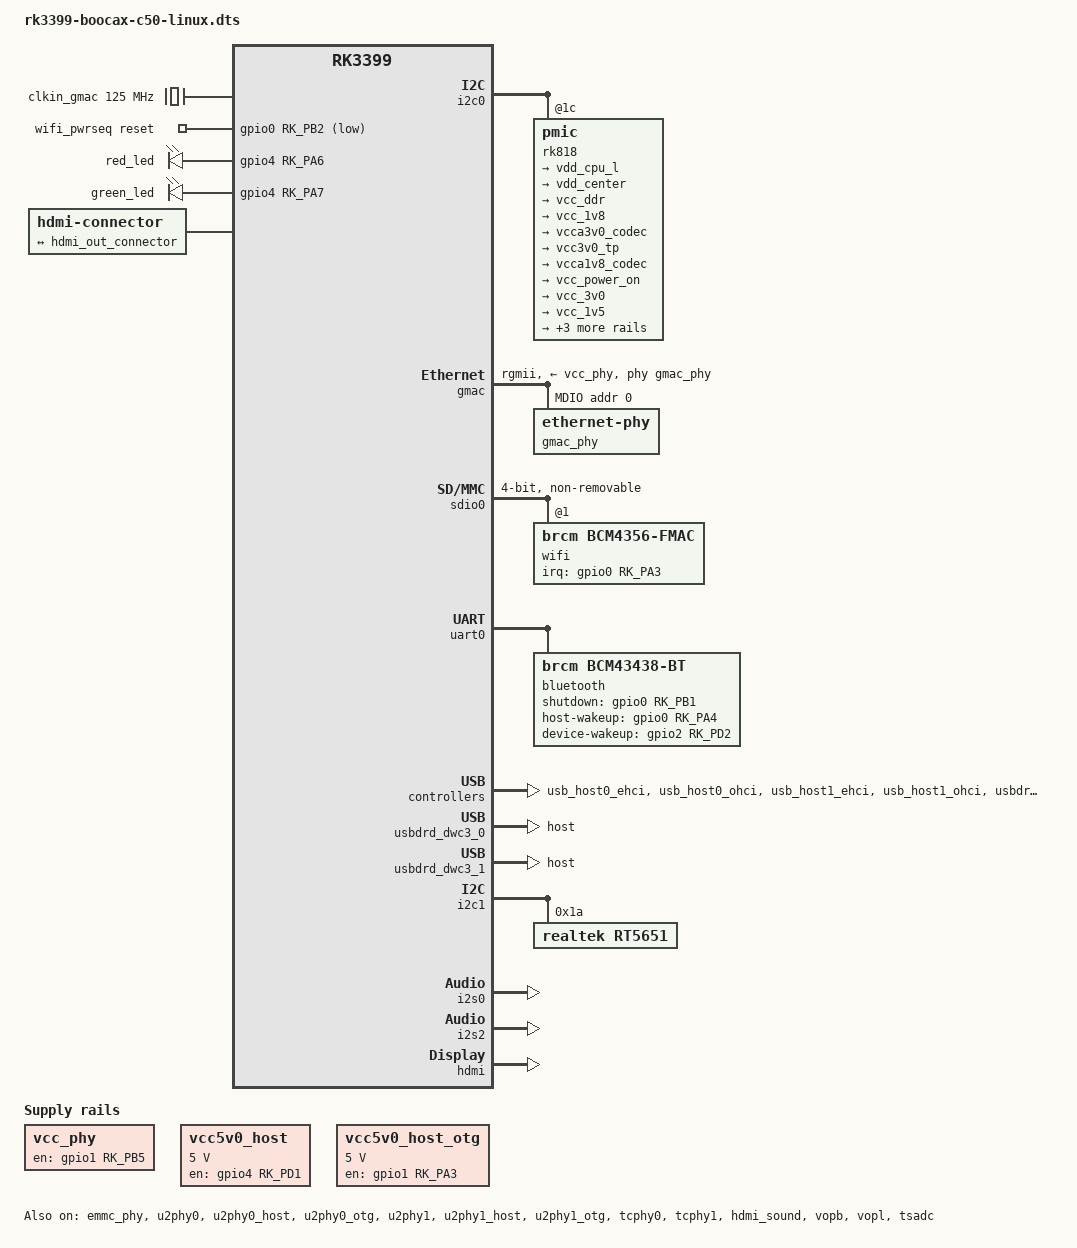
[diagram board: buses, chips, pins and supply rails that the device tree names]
// SPDX-License-Identifier: (GPL-2.0-or-later OR MIT)
#include "rk3399-boocax-c50.dts"

/ {
	aliases {
		ethernet0 = &gmac;
		serial0 = &uart0;
	};

	clkin_gmac: external-gmac-clock {
		compatible = "fixed-clock";
		clock-frequency = <125000000>;
		clock-output-names = "clkin_gmac";
		#clock-cells = <0>;
	};

	vcc_phy: regulator-vcc-phy {
		compatible = "regulator-fixed";
		regulator-name = "vcc_phy";
		gpio = <&gpio1 RK_PB5 GPIO_ACTIVE_HIGH>;
		enable-active-high;
		regulator-always-on;
	};

	wifi_pwrseq: sdio-pwrseq {
		compatible = "mmc-pwrseq-simple";
		clocks = <&rk818 1>;
		clock-names = "ext_clock";
		pinctrl-names = "default";
		pinctrl-0 = <&wifi_reg_on>;
		reset-gpios = <&gpio0 RK_PB2 GPIO_ACTIVE_LOW>;
	};

	gpio-leds {
		compatible = "gpio-leds";
		pinctrl-names = "default";
		pinctrl-0 = <&board_leds>;

		led-red {
			label = "red_led";
			gpios = <&gpio4 RK_PA6 GPIO_ACTIVE_HIGH>;
			default-state = "on";
			retain-state-suspended;
		};

		led-green {
			label = "green_led";
			gpios = <&gpio4 RK_PA7 GPIO_ACTIVE_HIGH>;
			default-state = "off";
			retain-state-suspended;
		};
	};

	vcc5v0_host: regulator-vcc5v0-host {
		compatible = "regulator-fixed";
		regulator-name = "vcc5v0_host";
		regulator-min-microvolt = <5000000>;
		regulator-max-microvolt = <5000000>;
		gpio = <&gpio4 RK_PD1 GPIO_ACTIVE_HIGH>;
		enable-active-high;
		regulator-always-on;
	};

	vcc5v0_host_otg: regulator-vcc5v0-host-otg {
		compatible = "regulator-fixed";
		regulator-name = "vcc5v0_host_otg";
		regulator-min-microvolt = <5000000>;
		regulator-max-microvolt = <5000000>;
		gpio = <&gpio1 RK_PA3 GPIO_ACTIVE_HIGH>;
		enable-active-high;
		regulator-always-on;
	};

	hdmi-connector {
		compatible = "hdmi-connector";
		type = "a";

		port {
			hdmi_connector_in: endpoint {
				remote-endpoint = <&hdmi_out_connector>;
			};
		};
	};

	rt5651-sound {
		compatible = "simple-audio-card";
		simple-audio-card,name = "BooCax RT5651";
		simple-audio-card,format = "i2s";
		simple-audio-card,mclk-fs = <256>;
		simple-audio-card,widgets = "Microphone", "Mic Jack",
					    "Headphone", "Headphone Jack";
		simple-audio-card,routing = "Mic Jack", "MICBIAS1",
					    "IN1P", "Mic Jack",
					    "Headphone Jack", "HPOL",
					    "Headphone Jack", "HPOR";

		simple-audio-card,cpu {
			sound-dai = <&i2s0>;
		};

		simple-audio-card,codec {
			sound-dai = <&rt5651>;
		};
	};
};

&i2c0 {
	rk818: pmic@1c {
		#clock-cells = <1>;
		clock-output-names = "xin32k", "wifibt_32kin";
		regulators {
			DCDC_REG1 {
				regulator-name = "vdd_cpu_l";
				regulator-always-on;
			};
			DCDC_REG2 {
				regulator-name = "vdd_center";
				regulator-always-on;
			};
			DCDC_REG3 {
				regulator-name = "vcc_ddr";
				regulator-always-on;
			};
			DCDC_REG4 {
				regulator-name = "vcc_1v8";
				regulator-always-on;
			};
			LDO_REG1 {
				regulator-name = "vcca3v0_codec";
				regulator-always-on;
			};
			LDO_REG2 {
				regulator-name = "vcc3v0_tp";
				regulator-always-on;
			};
			LDO_REG3 {
				regulator-name = "vcca1v8_codec";
				regulator-always-on;
			};
			LDO_REG4 {
				regulator-name = "vcc_power_on";
				regulator-always-on;
			};
			LDO_REG5 {
				regulator-name = "vcc_3v0";
				regulator-always-on;
			};
			LDO_REG6 {
				regulator-name = "vcc_1v5";
				regulator-always-on;
			};
			LDO_REG7 {
				regulator-name = "vcc1v8_dvp";
				regulator-always-on;
			};
			LDO_REG8 {
				regulator-name = "vcc3v3_s3";
				regulator-always-on;
			};
			LDO_REG9 {
				regulator-always-on;
			};
			SWITCH_REG {
				regulator-name = "vcc3v3_s0";
				regulator-always-on;
			};
		};
	};
};

&gmac {
	assigned-clocks = <&cru SCLK_RMII_SRC>;
	assigned-clock-parents = <&clkin_gmac>;
	clock_in_out = "input";
	phy-mode = "rgmii";
	phy-handle = <&gmac_phy>;
	phy-supply = <&vcc_phy>;
	pinctrl-names = "default";
	pinctrl-0 = <&rgmii_pins>;
	tx_delay = <0x28>;
	rx_delay = <0x11>;
	status = "okay";

	mdio {
		compatible = "snps,dwmac-mdio";
		#address-cells = <1>;
		#size-cells = <0>;
		reset-gpios = <&gpio3 RK_PB7 GPIO_ACTIVE_LOW>;
		reset-delay-us = <10000>;
		reset-post-delay-us = <50000>;

		gmac_phy: ethernet-phy@0 {
			reg = <0>;
		};
	};
};

&pinctrl {
	boocax-peripherals {
		board_leds: board-leds {
			rockchip,pins = <4 RK_PA6 RK_FUNC_GPIO &pcfg_pull_none>,
					<4 RK_PA7 RK_FUNC_GPIO &pcfg_pull_none>;
		};

		wifi_reg_on: wifi-reg-on {
			rockchip,pins = <0 RK_PB2 RK_FUNC_GPIO &pcfg_pull_none>;
		};

		wifi_host_wake: wifi-host-wake {
			rockchip,pins = <0 RK_PA3 RK_FUNC_GPIO &pcfg_pull_none>;
		};

		bt_control: bt-control {
			rockchip,pins = <0 RK_PB1 RK_FUNC_GPIO &pcfg_pull_none>,
					<0 RK_PA4 RK_FUNC_GPIO &pcfg_pull_none>,
					<2 RK_PD2 RK_FUNC_GPIO &pcfg_pull_none>;
		};

		codec_mclk: codec-mclk {
			rockchip,pins = <4 RK_PA0 1 &pcfg_pull_none>;
		};
	};
};

&sdio0 {
	bus-width = <4>;
	cap-sd-highspeed;
	cap-sdio-irq;
	keep-power-in-suspend;
	mmc-pwrseq = <&wifi_pwrseq>;
	non-removable;
	pinctrl-names = "default";
	pinctrl-0 = <&sdio0_bus4 &sdio0_cmd &sdio0_clk>;
	sd-uhs-sdr104;
	#address-cells = <1>;
	#size-cells = <0>;
	status = "okay";

	wifi@1 {
		compatible = "brcm,bcm4356-fmac", "brcm,bcm4329-fmac";
		reg = <1>;
		pinctrl-names = "default";
		pinctrl-0 = <&wifi_host_wake>;
		interrupt-parent = <&gpio0>;
		interrupts = <RK_PA3 IRQ_TYPE_LEVEL_HIGH>;
		interrupt-names = "host-wake";
	};
};

&uart0 {
	pinctrl-names = "default";
	pinctrl-0 = <&uart0_xfer &uart0_rts &uart0_cts>;
	uart-has-rtscts;
	status = "okay";

	bluetooth {
		compatible = "brcm,bcm43438-bt";
		clocks = <&rk818 1>;
		clock-names = "lpo";
		shutdown-gpios = <&gpio0 RK_PB1 GPIO_ACTIVE_HIGH>;
		host-wakeup-gpios = <&gpio0 RK_PA4 GPIO_ACTIVE_HIGH>;
		device-wakeup-gpios = <&gpio2 RK_PD2 GPIO_ACTIVE_HIGH>;
		pinctrl-names = "default";
		pinctrl-0 = <&bt_control>;
	};
};

/* The on-board eMMC runs in HS400 enhanced-strobe mode in the vendor image. */
&emmc_phy {
	status = "okay";
};

&sdhci {
	max-frequency = <200000000>;
	mmc-hs400-1_8v;
	mmc-hs400-enhanced-strobe;
};

&sdmmc {
	pinctrl-names = "default";
	pinctrl-0 = <&sdmmc_clk &sdmmc_cmd &sdmmc_cd &sdmmc_bus4>;
};

&usb_host0_ehci {
	status = "okay";
};

&usb_host0_ohci {
	status = "okay";
};

&usb_host1_ehci {
	status = "okay";
};

&usb_host1_ohci {
	status = "okay";
};

&u2phy0 {
	status = "okay";
};

&u2phy0_host {
	phy-supply = <&vcc5v0_host>;
	status = "okay";
};

&u2phy0_otg {
	status = "okay";
};

&u2phy1 {
	status = "okay";
};

&u2phy1_host {
	phy-supply = <&vcc5v0_host>;
	status = "okay";
};

&u2phy1_otg {
	status = "okay";
};

&tcphy0 {
	status = "okay";
};

&tcphy1 {
	status = "okay";
};

&usbdrd3_0 {
	status = "okay";
};

&usbdrd3_1 {
	status = "okay";
};

&usbdrd_dwc3_0 {
	dr_mode = "host";
	status = "okay";
};

&usbdrd_dwc3_1 {
	dr_mode = "host";
	status = "okay";
};

&i2c1 {
	i2c-scl-rising-time-ns = <300>;
	i2c-scl-falling-time-ns = <15>;
	status = "okay";

	rt5651: audio-codec@1a {
		compatible = "realtek,rt5651";
		reg = <0x1a>;
		clocks = <&cru SCLK_I2S_8CH_OUT>;
		clock-names = "mclk";
		#sound-dai-cells = <0>;
		pinctrl-names = "default";
		pinctrl-0 = <&codec_mclk>;
	};
};

&i2s0 {
	status = "okay";
};

&i2s2 {
	status = "okay";
};

&hdmi {
	pinctrl-names = "default";
	pinctrl-0 = <&hdmi_i2c_xfer>;
	status = "okay";
};

&hdmi_out {
	hdmi_out_connector: endpoint {
		remote-endpoint = <&hdmi_connector_in>;
	};
};

&hdmi_sound {
	status = "okay";
};

&vopb {
	status = "okay";
};

&vopb_mmu {
	status = "okay";
};

&vopl {
	status = "okay";
};

&vopl_mmu {
	status = "okay";
};

&tsadc {
	rockchip,hw-tshut-mode = <1>;
	rockchip,hw-tshut-polarity = <1>;
	status = "okay";
};
